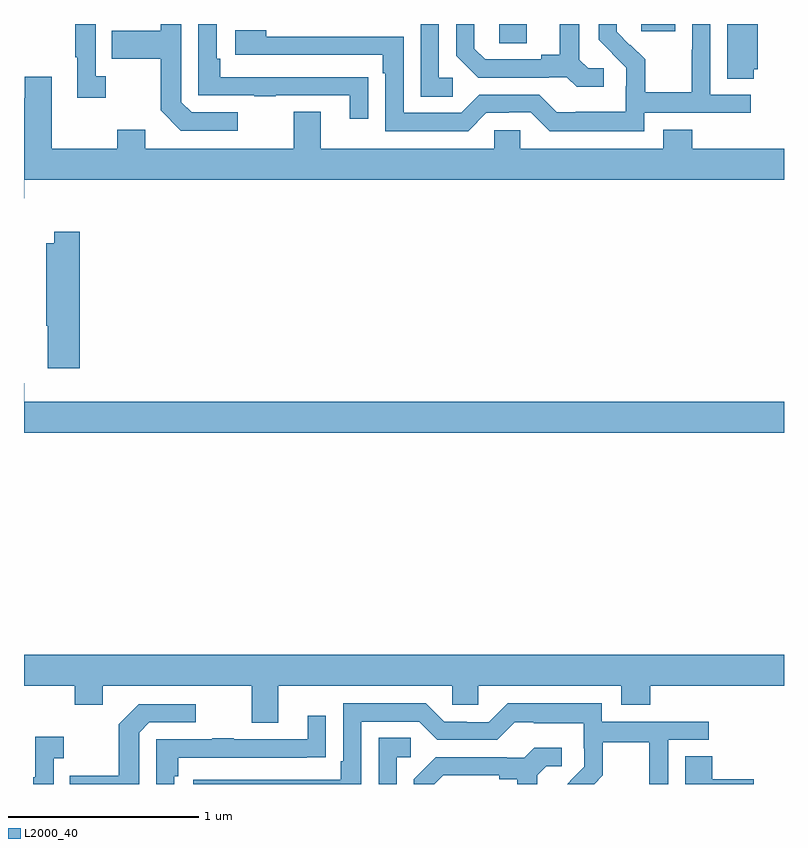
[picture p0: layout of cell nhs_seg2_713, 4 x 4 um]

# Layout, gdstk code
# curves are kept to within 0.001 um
import gdstk
lib = gdstk.Library(unit=1e-6, precision=1e-09)
def R(c, l, rs):  # rectangles x0, y0, x1, y1
    for r in rs: c.add(gdstk.rectangle(r[:2], r[2:], *l))
def P(c, l, *ps):  # polygons
    for p in ps: c.add(gdstk.Polygon(p, *l))
L2000_40 = (2000, 40)

nhs_seg2_713 = lib.new_cell('nhs_seg2_713')
R(nhs_seg2_713, L2000_40, [(149.502,637.699,149.647,637.8), (150.248,637.761,150.427,637.8)])
P(nhs_seg2_713, L2000_40, [(148.126,637.335),(147.882,637.335),(147.828,637.389),(147.828,637.8),(147.72,637.8),(147.72,637.765),(147.463,637.765),(147.463,637.618),(147.72,637.618),(147.72,637.345),(147.825,637.239),(148.126,637.239)],
  [(150.052,637.566),(149.97,637.566),(149.923,637.613),(149.923,637.8),(149.819,637.8),(149.819,637.637),(149.723,637.637),(149.723,637.614),(149.428,637.614),(149.371,637.671),(149.371,637.8),(149.274,637.8),(149.274,637.634),(149.39,637.518),(149.762,637.518),(149.762,637.521),(149.856,637.521),(149.908,637.469),(150.052,637.469)],
  [(148.811,637.52),(148.709,637.52),(148.709,637.521),(148.034,637.521),(148.034,637.618),(148.014,637.618),(148.014,637.8),(147.918,637.8),(147.918,637.425),(148.213,637.425),(148.213,637.42),(148.325,637.42),(148.325,637.425),(148.715,637.425),(148.715,637.302),(148.811,637.302)],
  [(149.257,637.518),(149.184,637.518),(149.184,637.8),(149.088,637.8),(149.088,637.417),(149.257,637.417)],
  [(150.264,637.332),(150.826,637.332),(150.826,637.428),(150.612,637.428),(150.612,637.8),(150.516,637.8),(150.516,637.664),(150.514,637.664),(150.514,637.441),(150.269,637.441),(150.269,637.615),(150.192,637.692),(150.189,637.689),(150.119,637.76),(150.119,637.8),(150.024,637.8),(150.024,637.718),(150.17,637.57),(150.17,637.473),(150.168,637.473),(150.168,637.339),(149.905,637.339),(149.905,637.335),(149.805,637.335),(149.712,637.428),(149.397,637.428),(149.301,637.332),(148.998,637.332),(148.998,637.734),(148.274,637.734),(148.274,637.768),(148.113,637.768),(148.113,637.638),(148.889,637.638),(148.889,637.541),(148.902,637.541),(148.902,637.236),(149.337,637.236),(149.433,637.332),(149.552,637.332),(149.552,637.335),(149.667,637.335),(149.767,637.235),(150.264,637.235)],
  [(147.43,637.526),(147.378,637.526),(147.378,637.8),(147.27,637.8),(147.27,637.625),(147.281,637.625),(147.281,637.413),(147.43,637.413)],
  [(150.84,637.562),(150.862,637.562),(150.862,637.8),(150.701,637.8),(150.701,637.513),(150.84,637.513)],
  [(147.002,636.98),(151,636.98),(151,637.144),(150.518,637.144),(150.518,637.243),(150.365,637.243),(150.365,637.144),(149.613,637.144),(149.613,637.242),(149.475,637.242),(149.475,637.144),(148.561,637.144),(148.561,637.339),(148.421,637.339),(148.421,637.144),(147.637,637.144),(147.637,637.243),(147.49,637.243),(147.49,637.144),(147.145,637.144),(147.145,637.522),(147.005,637.522),(147.005,637.409),(147,637.409),(147,636.884),(147.002,636.884)],
  [(147.293,636.706),(147.158,636.706),(147.158,636.646),(147.118,636.646),(147.118,636.211),(147.125,636.211),(147.125,635.988),(147.293,635.988)],
  [(151,635.812),(147.002,635.812),(147.002,635.908),(147,635.908),(147,635.648),(151,635.648)],
  [(147,634.316),(147.268,634.316),(147.268,634.217),(147.415,634.217),(147.415,634.316),(148.199,634.316),(148.199,634.122),(148.339,634.122),(148.339,634.316),(149.253,634.316),(149.253,634.218),(149.391,634.218),(149.391,634.316),(150.143,634.316),(150.143,634.217),(150.296,634.217),(150.296,634.316),(151,634.316),(151,634.48),(147,634.48)],
  [(148.776,634.128),(149.079,634.128),(149.175,634.032),(149.49,634.032),(149.583,634.125),(149.683,634.125),(149.683,634.121),(149.946,634.121),(149.946,633.987),(149.948,633.987),(149.948,633.89),(149.874,633.816),(149.875,633.815),(149.86,633.8),(150.002,633.8),(150.047,633.845),(150.047,634.02),(150.292,634.02),(150.292,633.8),(150.39,633.8),(150.39,634.032),(150.604,634.032),(150.604,634.128),(150.042,634.128),(150.042,634.225),(149.545,634.225),(149.445,634.125),(149.33,634.125),(149.33,634.128),(149.211,634.128),(149.115,634.224),(148.68,634.224),(148.68,633.919),(148.667,633.919),(148.667,633.822),(147.891,633.822),(147.891,633.8),(148.776,633.8)],
  [(147.606,634.071),(147.66,634.125),(147.904,634.125),(147.904,634.221),(147.603,634.221),(147.498,634.115),(147.498,633.843),(147.241,633.843),(147.241,633.8),(147.606,633.8)],
  [(147.792,633.842),(147.812,633.842),(147.812,633.939),(148.487,633.939),(148.487,633.94),(148.589,633.94),(148.589,634.159),(148.493,634.159),(148.493,634.035),(148.103,634.035),(148.103,634.04),(147.991,634.04),(147.991,634.035),(147.696,634.035),(147.696,633.8),(147.792,633.8)],
  [(147.156,633.935),(147.208,633.935),(147.208,634.048),(147.059,634.048),(147.059,633.835),(147.048,633.835),(147.048,633.8),(147.156,633.8)],
  [(148.962,633.942),(149.035,633.942),(149.035,634.043),(148.866,634.043),(148.866,633.8),(148.962,633.8)],
  [(149.206,633.846),(149.501,633.846),(149.501,633.824),(149.597,633.824),(149.597,633.8),(149.701,633.8),(149.701,633.847),(149.748,633.894),(149.83,633.894),(149.83,633.991),(149.686,633.991),(149.634,633.939),(149.54,633.939),(149.54,633.942),(149.168,633.942),(149.052,633.826),(149.052,633.8),(149.16,633.8)],
  [(150.841,633.824),(150.623,633.824),(150.623,633.947),(150.479,633.947),(150.479,633.8),(150.841,633.8)])

lib.write_gds('nhs_seg2_713.gds')
